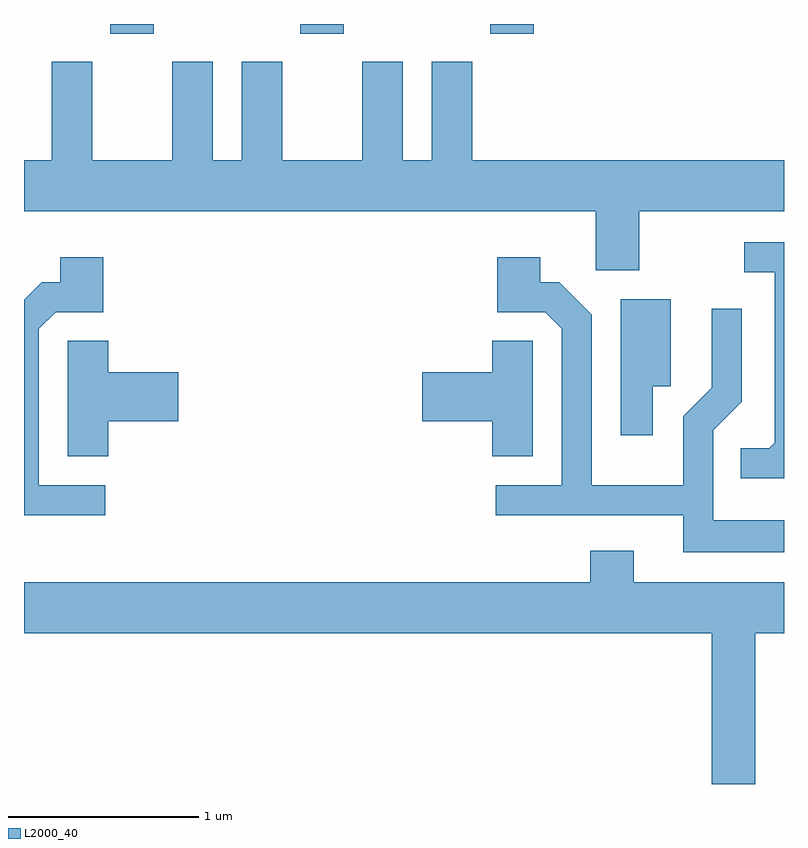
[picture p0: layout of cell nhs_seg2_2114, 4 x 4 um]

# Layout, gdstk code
import gdstk
lib = gdstk.Library(unit=1e-6, precision=1e-09)
def R(c, l, rs):  # rectangles x0, y0, x1, y1
    for r in rs: c.add(gdstk.rectangle(r[:2], r[2:], *l))
def A(c, l, x, y, w, h, nx, ny, dx, dy):  # array of equal rectangles
    R(c, l, [(x+i*dx, y+j*dy, x+i*dx+w, y+j*dy+h) for i in range(nx) for j in range(ny)])
def P(c, l, *ps):  # polygons
    for p in ps: c.add(gdstk.Polygon(p, *l))
L2000_40 = (2000, 40)

nhs_seg2_2114 = lib.new_cell('nhs_seg2_2114')
A(nhs_seg2_2114, L2000_40, 248.066, 993.751, 0.228, 0.051, 3, 1, 1, 0)
P(nhs_seg2_2114, L2000_40, [(250.849,992.816),(251.611,992.816),(251.611,993.084),(249.969,993.084),(249.969,993.604),(249.756,993.604),(249.756,993.084),(249.604,993.084),(249.604,993.604),(249.391,993.604),(249.391,993.084),(248.969,993.084),(248.969,993.604),(248.756,993.604),(248.756,993.084),(248.604,993.084),(248.604,993.604),(248.391,993.604),(248.391,993.084),(247.969,993.084),(247.969,993.604),(247.756,993.604),(247.756,993.084),(247.611,993.084),(247.611,992.816),(250.621,992.816),(250.621,992.506),(250.849,992.506)],
  [(251.611,992.654),(251.403,992.654),(251.403,992.496),(251.561,992.496),(251.561,991.597),(251.534,991.569),(251.383,991.569),(251.383,991.411),(251.611,991.411)],
  [(248.038,991.374),(247.689,991.374),(247.689,992.199),(247.777,992.286),(248.029,992.286),(248.029,992.574),(247.801,992.574),(247.801,992.444),(247.704,992.444),(247.611,992.352),(247.611,991.216),(248.038,991.216)],
  [(251.611,991.189),(251.239,991.189),(251.239,991.664),(251.389,991.814),(251.389,992.303),(251.231,992.303),(251.231,991.887),(251.081,991.737),(251.081,991.374),(250.599,991.374),(250.599,992.272),(250.427,992.444),(250.329,992.444),(250.329,992.574),(250.101,992.574),(250.101,992.286),(250.354,992.286),(250.441,992.199),(250.441,991.374),(250.093,991.374),(250.093,991.216),(251.081,991.216),(251.081,991.021),(251.611,991.021)],
  [(250.919,991.896),(251.014,991.896),(251.014,992.354),(250.751,992.354),(250.751,991.638),(250.919,991.638)],
  [(250.289,992.134),(250.076,992.134),(250.076,991.969),(249.706,991.969),(249.706,991.711),(250.076,991.711),(250.076,991.526),(250.289,991.526)],
  [(248.054,991.711),(248.424,991.711),(248.424,991.969),(248.054,991.969),(248.054,992.134),(247.841,992.134),(247.841,991.526),(248.054,991.526)],
  [(251.459,990.596),(251.611,990.596),(251.611,990.864),(250.819,990.864),(250.819,991.029),(250.591,991.029),(250.591,990.864),(247.611,990.864),(247.611,990.596),(251.231,990.596),(251.231,989.802),(251.459,989.802)])

lib.write_gds('nhs_seg2_2114.gds')
